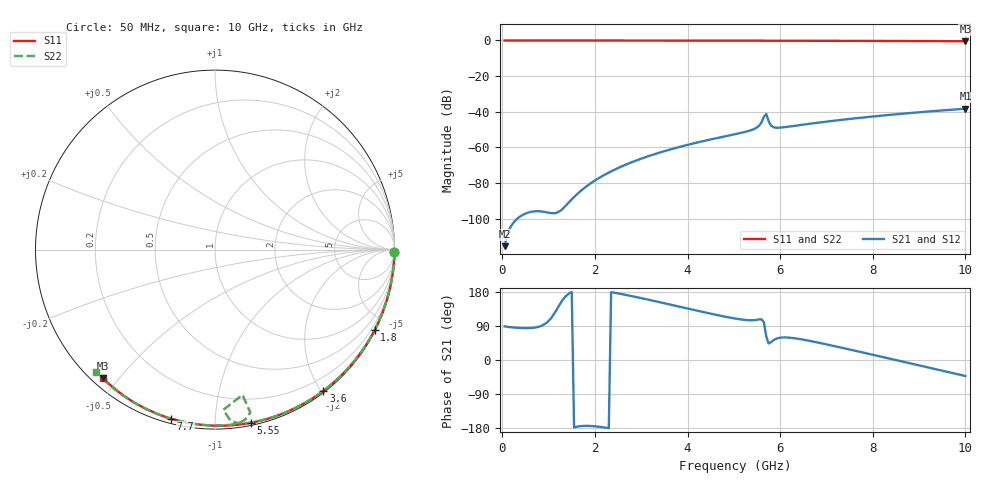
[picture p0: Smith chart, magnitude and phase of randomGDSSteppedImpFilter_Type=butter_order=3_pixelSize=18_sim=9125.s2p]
! freq	dB(S11)	phase(S11)	dB(S12)	phase(S12)
!  dB(S21)	phase(S21)	dB(S22)	phase(S22)
!S-par simulation data
#  GHz  S  DB  R 50
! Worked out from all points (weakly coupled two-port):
!   200 points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, 50 MHz to 10 GHz, reference 50 ohm
!   highest |S21| = -38.28 dB at 10 GHz (marker M1); lowest = -115.3 dB at 50 MHz (marker M2)
!   lowest |S11| = -0.4 dB at 10 GHz (marker M3), VSWR 39.26, Z = 1.54 - j22.8 ohm
!   |S11| at or under -10 dB: nowhere
!   |S22| runs from -1.7 to 0.0 dB; largest |S21 - S12| = 0
!   S11 on the Smith chart (normalised r, x): 50 MHz: open; 1.8 GHz: 0.04, -4.19; 3.6 GHz: 0.02, -2.03; 5.55 GHz: 0.02, -1.23; 7.7 GHz: 0.02, -0.77; 10 GHz: 0.03, -0.46
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0.05  -0.00 -0.8  -115.35 88.8  -115.35 88.8  -0.00 -0.8
0.9  -0.02 -13.5  -96.08 93.7  -96.08 93.7  -0.02 -13.9
1.75  -0.03 -26.1  -83.17 -173.9  -83.17 -173.9  -0.03 -26.8
1.8  -0.03 -26.8  -82.15 -173.7  -82.15 -173.7  -0.03 -27.5
1.9  -0.04 -28.3  -80.26 -174.0  -80.26 -174.0  -0.04 -29.0
2.25  -0.04 -33.4  -74.73 -178.9  -74.73 -178.9  -0.04 -34.2
2.65  -0.05 -39.1  -69.81 172.2  -69.81 172.2  -0.05 -40.1
3.4  -0.07 -49.7  -62.84 152.5  -62.84 152.5  -0.07 -51.0
3.6  -0.07 -52.5  -61.31 147.0  -61.31 147.0  -0.07 -53.8
5.05  -0.11 -71.9  -52.43 108.9  -52.43 108.9  -0.12 -74.2
5.4  -0.12 -76.5  -50.05 104.8  -50.05 104.8  -0.15 -79.6
5.55  -0.13 -78.4  -47.67 107.1  -47.67 107.1  -0.25 -83.0
5.6  -0.13 -79.0  -45.85 107.3  -45.85 107.3  -0.40 -84.9
5.65  -0.13 -79.7  -42.69 99.0  -42.69 99.0  -0.98 -87.0
5.7  -0.13 -80.3  -41.23 62.2  -41.23 62.2  -1.68 -79.3
5.75  -0.14 -80.9  -45.18 43.6  -45.18 43.6  -0.64 -77.8
5.8  -0.14 -81.6  -47.62 46.7  -47.62 46.7  -0.34 -79.9
5.9  -0.14 -82.8  -48.89 55.4  -48.89 55.4  -0.21 -82.7
6.7  -0.18 -92.7  -46.50 49.0  -46.50 49.0  -0.19 -94.4
7.7  -0.24 -104.7  -43.45 22.2  -43.45 22.2  -0.24 -106.8
8.35  -0.29 -112.2  -41.76 4.0  -41.76 4.0  -0.29 -114.7
10  -0.44 -131.0  -38.28 -42.3  -38.28 -42.3  -0.45 -134.1
